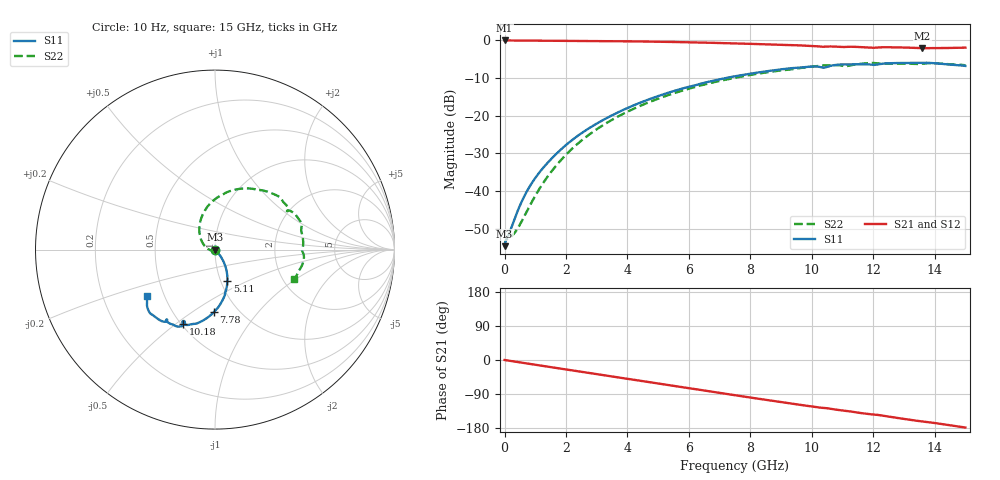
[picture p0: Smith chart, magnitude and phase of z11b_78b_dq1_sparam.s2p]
![Disclaimer] This software code/ model/ data and all associated documentation, comments
!    or other information (collectively "Software") is provided
!    "AS IS" without warranty of any kind. MICRON TECHNOLOGY, INC.
!   ("MTI") EXPRESSLY DISCLAIMS ALL WARRANTIES EXPRESS OR IMPLIED,
!    INCLUDING BUT NOT LIMITED TO, NONINFRINGEMENT OF THIRD PARTY
!   RIGHTS, AND ANY IMPLIED WARRANTIES OF MERCHANTABILITY OR FITNESS
!    FOR ANY PARTICULAR PURPOSE. MTI DOES NOT WARRANT THAT THE
!    SOFTWARE WILL MEET YOUR REQUIREMENTS, OR THAT THE OPERATION OF
!    THE SOFTWARE WILL BE UNINTERRUPTED OR ERROR-FREE. FURTHERMORE,
!    MTI DOES NOT MAKE ANY REPRESENTATIONS REGARDING THE USE OR THE
!    RESULTS OF THE USE OF THE SOFTWARE IN TERMS OF ITS CORRECTNESS,
!    ACCURACY, RELIABILITY, OR OTHERWISE. THE ENTIRE RISK ARISING OUT
!    OF USE OR PERFORMANCE OF THE SOFTWARE REMAINS WITH YOU. IN NO
!    EVENT SHALL MTI, ITS AFFILIATED COMPANIES OR THEIR SUPPLIERS BE
!    LIABLE FOR ANY DIRECT, INDIRECT, CONSEQUENTIAL, INCIDENTAL, OR
!    SPECIAL DAMAGES (INCLUDING, WITHOUT LIMITATION, DAMAGES FOR LOSS
!    OF PROFITS, BUSINESS INTERRUPTION, OR LOSS OF INFORMATION)
!    ARISING OUT OF YOUR USE OF OR INABILITY TO USE THE SOFTWARE,
!    EVEN IF MTI HAS BEEN ADVISED OF THE POSSIBILITY OF SUCH DAMAGES.
!    Because some jurisdictions prohibit the exclusion or limitation
!    of liability for consequential or incidental damages, the above
!    limitation may not apply to you.
!    Copyright 2019 Micron Technology, Inc. All rights reserved.
! Single-ended  S-parameters
!NUMBER OF PORTS = 2
!  PORT#  PORT_NAME  NET_NAME
! PORT1:  DQ1.BGA.VDDQ_VSS DQ1
! PORT2:  DQ1.Z11B_DIE.VDDQ_VSS DQ1
# HZ S  RI R 5.000000e+001
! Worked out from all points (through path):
!   1701 points, 10 Hz to 15 GHz, reference 50 ohm
!   highest |S21| = -0.02 dB at 3.162 kHz (marker M1); lowest = -2.1 dB at 13.6 GHz (marker M2)
!   group delay of S21, straight-line fit = 33.2 ps
!   lowest |S11| = -54.6 dB at 10 Hz (marker M3), VSWR 1.00, Z = 50.2 + j5.57e-08 ohm
!   |S11| at or under -10 dB: start of sweep to 7.202 GHz
!   |S22| runs from -54.6 to -6.0 dB; largest |S21 - S12| = 0
!   S11 on the Smith chart (normalised r, x): 10 Hz: 1.00, +0.00; 5.11 GHz: 1.07, -0.39; 7.78 GHz: 0.77, -0.61; 10.18 GHz: 0.51, -0.53; 15 GHz: 0.40, -0.26
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10  0.00185 5.55e-10  0.9981 -2.98e-09  0.9981 -2.98e-09  0.00185 5.59e-10
3162.28  0.00185 1.75e-07  0.9981 -9.44e-07  0.9981 -9.44e-07  0.00185 1.77e-07
5.01187e7  0.00226 -0.000193  0.9975 -0.0115  0.9975 -0.0115  0.00223 -0.000193
3e8  0.00328 -0.00228  0.9943 -0.0668  0.9943 -0.0668  0.00164 -0.00215
5.2e8  0.00495 -0.00453  0.9887 -0.1146  0.9887 -0.1146  0.000165 -0.00371
9.5e8  0.00947 -0.0103  0.9714 -0.2056  0.9714 -0.2056  -0.00529 -0.00599
1.65e9  0.0199 -0.0227  0.9261 -0.3486  0.9261 -0.3486  -0.0205 -0.005
2.51e9  0.0365 -0.0462  0.8416 -0.5108  0.8416 -0.5108  -0.0462 0.00907
3.63e9  0.0573 -0.0913  0.6883 -0.6924  0.6883 -0.6924  -0.0773 0.0545
5.01e9  0.0692 -0.1694  0.445 -0.851  0.445 -0.851  -0.0843 0.1464
5.11e9  0.069 -0.1759  0.4257 -0.8591  0.4257 -0.8591  -0.0827 0.154
6.37e9  0.0522 -0.2603  0.1745 -0.9199  0.1745 -0.9199  -0.0334 0.2495
7.51e9  0.00657 -0.334  -0.0504 -0.9094  -0.0504 -0.9094  0.0546 0.314
7.78e9  -0.00689 -0.349  -0.1017 -0.8994  -0.1017 -0.8994  0.0812 0.3253
8.81e9  -0.0705 -0.397  -0.2834 -0.8327  -0.2834 -0.8327  0.1914 0.3406
1.001e10  -0.1631 -0.4194  -0.4593 -0.709  -0.4593 -0.709  0.3234 0.3109
1.018e10  -0.1783 -0.4122  -0.4785 -0.6849  -0.4785 -0.6849  0.3443 0.3018
1.052e10  -0.1697 -0.4143  -0.5061 -0.6568  -0.5061 -0.6568  0.3781 0.2679
1.195e10  -0.2713 -0.39  -0.6433 -0.4747  -0.6433 -0.4747  0.4802 0.1482
1.251e10  -0.2991 -0.3974  -0.6984 -0.4116  -0.6984 -0.4116  0.4853 0.0844
1.36e10  -0.3592 -0.3566  -0.749 -0.2438  -0.749 -0.2438  0.4899 -0.0165
1.5e10  -0.3784 -0.2579  -0.8001 -0.0242  -0.8001 -0.0242  0.4377 -0.1644
